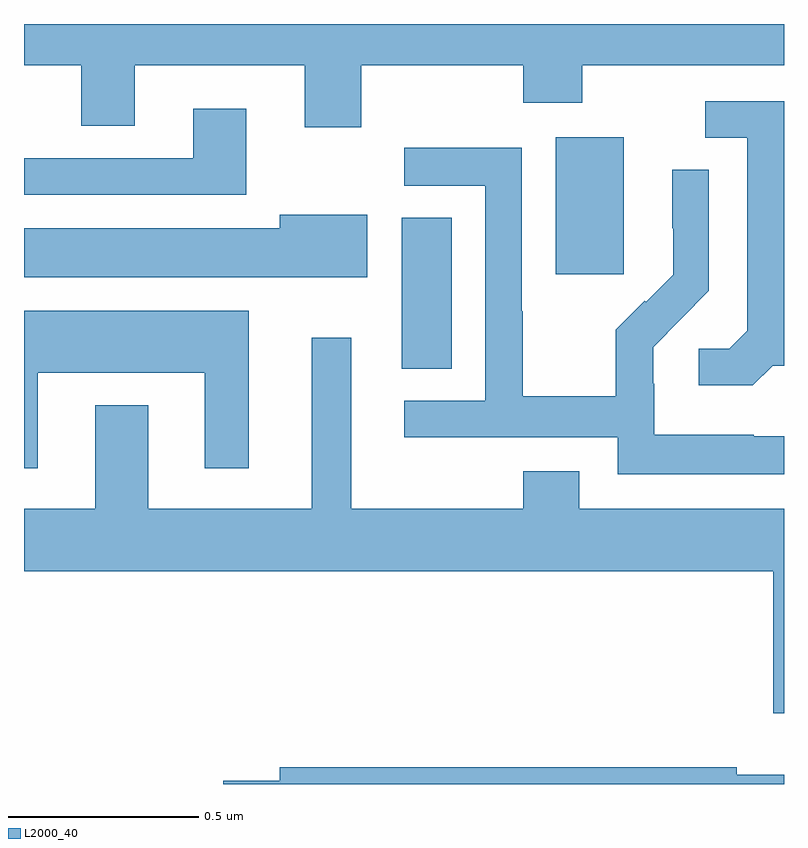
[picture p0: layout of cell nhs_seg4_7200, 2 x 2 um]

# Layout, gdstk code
import gdstk
lib = gdstk.Library(unit=1e-6, precision=1e-09)
def R(c, l, rs):  # rectangles x0, y0, x1, y1
    for r in rs: c.add(gdstk.rectangle(r[:2], r[2:], *l))
def P(c, l, *ps):  # polygons
    for p in ps: c.add(gdstk.Polygon(p, *l))
L2000_40 = (2000, 40)

nhs_seg4_7200 = lib.new_cell('nhs_seg4_7200')
R(nhs_seg4_7200, L2000_40, [(199.994,823.993,200.125,824.39), (200.399,824.241,200.578,824.602)])
P(nhs_seg4_7200, L2000_40, [(199.887,824.792),(200.314,824.792),(200.314,824.693),(200.469,824.693),(200.469,824.792),(201,824.792),(201,824.9),(199,824.9),(199,824.792),(199.151,824.792),(199.151,824.632),(199.291,824.632),(199.291,824.792),(199.739,824.792),(199.739,824.628),(199.887,824.628)],
  [(200.97,824.001),(201,824.001),(201,824.697),(200.793,824.697),(200.793,824.601),(200.903,824.601),(200.903,824.093),(200.856,824.046),(200.775,824.046),(200.775,823.949),(200.918,823.949)],
  [(199.585,824.677),(199.445,824.677),(199.445,824.547),(199,824.547),(199,824.451),(199.585,824.451)],
  [(201,823.815),(200.921,823.815),(200.921,823.819),(200.658,823.819),(200.658,823.953),(200.656,823.953),(200.656,824.05),(200.73,824.124),(200.729,824.125),(200.802,824.198),(200.802,824.516),(200.706,824.516),(200.706,824.362),(200.708,824.362),(200.708,824.24),(200.637,824.169),(200.634,824.172),(200.557,824.095),(200.557,823.921),(200.313,823.921),(200.313,824.144),(200.31,824.144),(200.31,824.574),(200.001,824.574),(200.001,824.475),(200.214,824.475),(200.214,823.908),(200.001,823.908),(200.001,823.812),(200.562,823.812),(200.562,823.715),(201,823.715)],
  [(199.903,824.398),(199.673,824.398),(199.673,824.362),(199,824.362),(199,824.234),(199.903,824.234)],
  [(199.036,823.982),(199.475,823.982),(199.475,823.731),(199.591,823.731),(199.591,824.146),(199,824.146),(199,823.731),(199.036,823.731)],
  [(199.757,824.074),(199.757,823.624),(199.327,823.624),(199.327,823.897),(199.187,823.897),(199.187,823.624),(199,823.624),(199,823.46),(200.972,823.46),(200.972,823.086),(201,823.086),(201,823.624),(200.461,823.624),(200.461,823.723),(200.314,823.723),(200.314,823.624),(199.861,823.624),(199.861,824.074)],
  [(201,822.925),(200.876,822.925),(200.876,822.944),(199.673,822.944),(199.673,822.908),(199.524,822.908),(199.524,822.9),(201,822.9)])

lib.write_gds('nhs_seg4_7200.gds')
